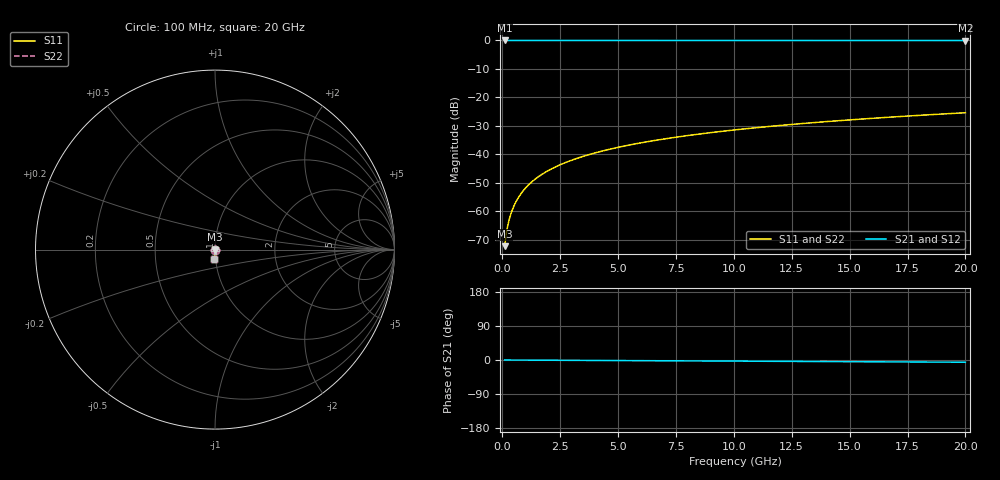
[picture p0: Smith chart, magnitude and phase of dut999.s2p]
! Touchstone file exported from HFSS 2026.1.0
!  File:  C:/ffzhzh/LocalFiles/Ansys_Project_Files/temp_train_TSV_999_1783188357_22436.aedt
!  Generated:  02:07:16 AM Jul  5, 2026
!  Design:  TSV
!  Project:  temp_train_TSV_999_1783188357_22436
! Variables:
!  h_bsmrdl = 2um
!  h_ox = 20um
!  h_rdl = 5um
!  h_sub = 50.34um
!  h_tmrdl = 5um
!  h_tsv = 50.34um
!  h_via = 3um
!  l_bsmrdl = 300um
!  l_sub = 428.44um
!  l_tmrdl = 200um
!  m_sub = 200um
!  pitch = 36.8um
!  r_tsv = 14.22um
!  s_tmrdl = 10um
!  w_bsmrdl = 18um
!  w_sub = 500um
!  w_tmrdl = 12um
!  x_tsv_center1 = 206um
!  x_tsv_center2 = 524um
!  x_tsv_center3 = 736um
!  x_tsv_center4 = 1054um
!  x_tsv_center5 = 1266um
!  x_tsv_center6 = 1584um
# GHz S MA R 50.000000
! Terminal data exported
! Port[1] = TSV1_1_T1
! Port[2] = TSV1_1_T2
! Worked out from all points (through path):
!   200 points, 100 MHz to 20 GHz, reference 50 ohm
!   highest |S21| = 0.00 dB at 100 MHz (marker M1); lowest = 0.0 dB at 20 GHz (marker M2)
!   lowest |S11| = -72.2 dB at 100 MHz (marker M3), VSWR 1.00, Z = 50 - j0.0236 ohm
!   |S11| at or under -10 dB: start of sweep to end of sweep
!   |S22| runs from -72.2 to -25.4 dB; largest |S21 - S12| = 2e-15
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0.1  0.0002445 -75.1  0.9999 -0.0  0.9999 -0.0  0.0002445 -75.1
! Gamma 0 0 0 0
! Port Impedance 50 0 50 0
0.2  0.0004815 -81.2  0.9999 -0.1  0.9999 -0.1  0.0004815 -81.2
0.3  0.0007262 -82.9  0.9999 -0.1  0.9999 -0.1  0.0007262 -82.9
0.4  0.0009773 -83.7  0.9999 -0.1  0.9999 -0.1  0.0009773 -83.7
0.5  0.001234 -84.2  0.9999 -0.2  0.9999 -0.2  0.001234 -84.2
0.7  0.001758 -84.9  0.9998 -0.2  0.9998 -0.2  0.001758 -84.9
0.8  0.002023 -85.2  0.9998 -0.2  0.9998 -0.2  0.002023 -85.2
1  0.002557 -85.8  0.9998 -0.3  0.9998 -0.3  0.002557 -85.8
1.2  0.003092 -86.3  0.9998 -0.4  0.9998 -0.4  0.003092 -86.3
1.4  0.003628 -86.7  0.9998 -0.4  0.9998 -0.4  0.003628 -86.7
1.7  0.004432 -87.2  0.9997 -0.5  0.9997 -0.5  0.004432 -87.2
2  0.005235 -87.6  0.9997 -0.6  0.9997 -0.6  0.005235 -87.6
2.7  0.007108 -88.4  0.9997 -0.8  0.9997 -0.8  0.007108 -88.4
3.5  0.009251 -88.9  0.9996 -1.0  0.9996 -1.0  0.009251 -88.9
4.2  0.01113 -89.3  0.9996 -1.2  0.9996 -1.2  0.01113 -89.3
5  0.01328 -89.7  0.9995 -1.5  0.9995 -1.5  0.01328 -89.7
6.8  0.01814 -90.5  0.9994 -2.0  0.9994 -2.0  0.01814 -90.5
8.3  0.0222 -91.1  0.9992 -2.5  0.9992 -2.5  0.0222 -91.1
10.1  0.02707 -91.7  0.999 -3.0  0.999 -3.0  0.02707 -91.7
13.4  0.036 -92.9  0.9987 -3.9  0.9987 -3.9  0.036 -92.9
16.7  0.04492 -93.9  0.9982 -4.9  0.9982 -4.9  0.04492 -93.9
20  0.05384 -95.0  0.9977 -5.9  0.9977 -5.9  0.05384 -95.0
